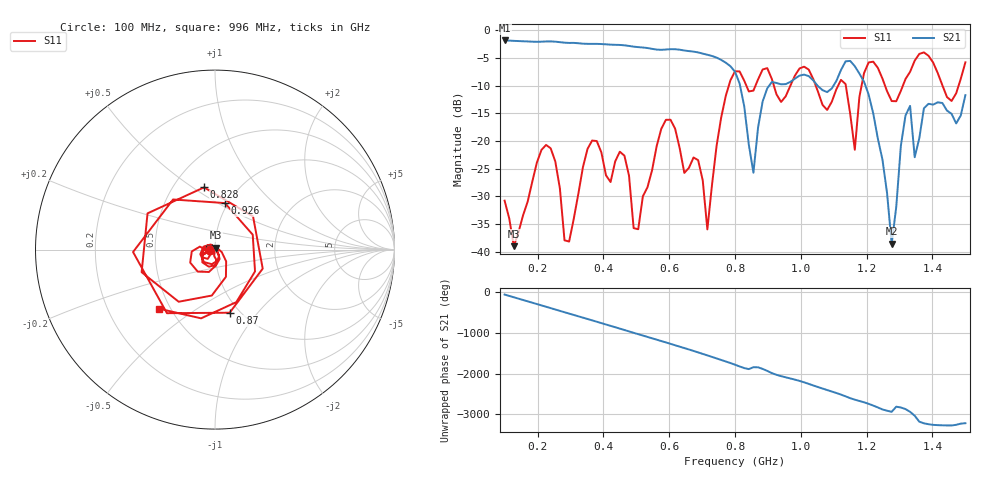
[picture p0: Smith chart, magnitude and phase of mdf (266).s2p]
! NanoVNA-App
! Date: 2025-09-25 15:40:30
! Start: 100MHz Stop: 1,5GHz Points: 101
! S-Parameter data: F S11 S21 S12 S22
# Hz S RI R 50
!  Frequency  S11_Real  S11_Imag  S21_Real  S21_Imag  S12_Real  S12_Imag  S22_Real  S22_Imag
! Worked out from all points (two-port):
!   101 points, 100 MHz to 1.5 GHz, reference 50 ohm
!   highest |S21| = -1.80 dB at 100 MHz (marker M1); lowest = -38.6 dB at 1.276 GHz (marker M2)
!   |S21| within 3 dB of the highest: start of sweep to 739.5 MHz
!   lowest |S11| = -39.0 dB at 128 MHz (marker M3), VSWR 1.02, Z = 50.3 + j1.08 ohm
!   |S11| at or under -10 dB: start of sweep to 781.1 MHz; 918.2 MHz to 968.1 MHz (49.89 MHz wide, 5.29 % of centre); 1.045 GHz to 1.113 GHz (67.62 MHz wide, 6.27 % of centre)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
!   S12 and S22 are empty: the file has one direction only
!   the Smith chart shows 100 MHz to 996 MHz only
!   S11 on the Smith chart (normalised r, x): 100 MHz: 0.94, -0.01; 828 MHz: 0.70, +0.56; 870 MHz: 0.90, -0.73; 926 MHz: 0.97, +0.54; 996 MHz: 0.43, -0.36
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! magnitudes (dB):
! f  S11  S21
! 100 MHz  -30.8  -1.8
! 128 MHz  -39.0  -1.9
! 212 MHz  -21.6  -2.0
! 282 MHz  -37.9  -2.2
! 338 MHz  -24.7  -2.4
! 464 MHz  -22.6  -2.7
! 506 MHz  -35.9  -3.0
! 576 MHz  -17.8  -3.5
! 716 MHz  -35.9  -4.4
! 800 MHz  -7.4  -7.5
! 828 MHz  -9.1  -13.7
! 856 MHz  -10.9  -25.7
! 870 MHz  -8.8  -17.6
! 926 MHz  -11.5  -9.5
! 996 MHz  -6.9  -8.2
! 1.038 GHz  -8.8  -9.0
! 1.164 GHz  -21.6  -6.5
! 1.192 GHz  -7.7  -9.3
! 1.276 GHz  -12.8  -38.6
! 1.332 GHz  -7.5  -13.6
! 1.346 GHz  -5.5  -22.9
! 1.5 GHz  -5.8  -11.7
